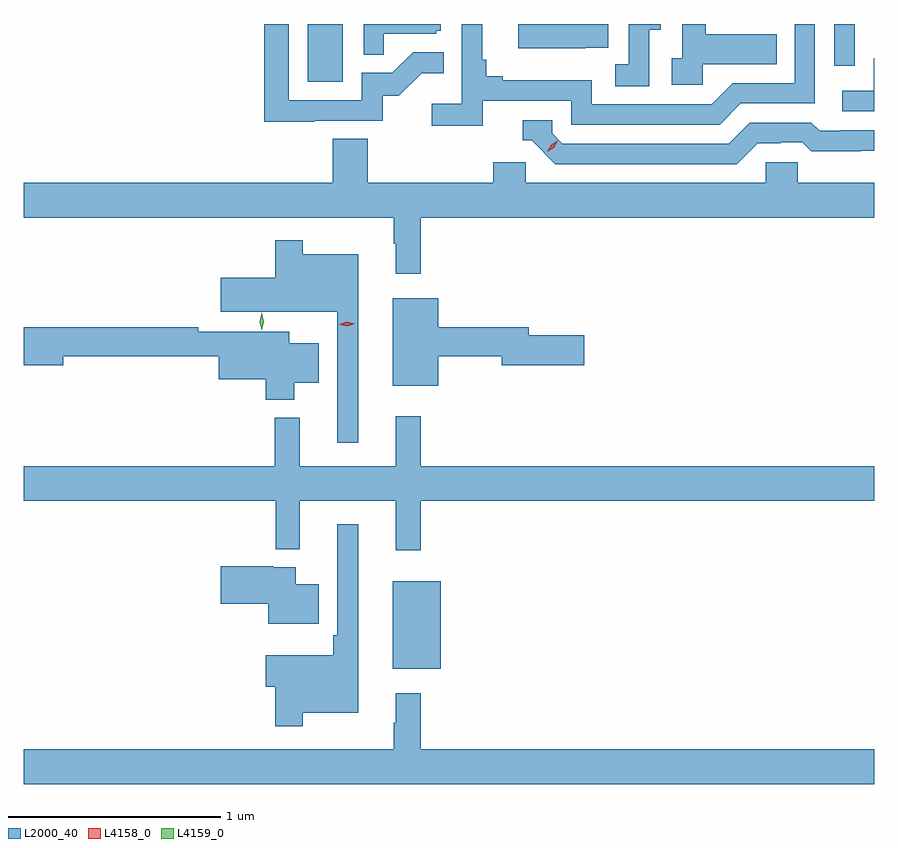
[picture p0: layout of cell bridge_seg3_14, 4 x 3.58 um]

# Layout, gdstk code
import gdstk
lib = gdstk.Library(unit=1e-6, precision=1e-09)
def R(c, l, rs):  # rectangles x0, y0, x1, y1
    for r in rs: c.add(gdstk.rectangle(r[:2], r[2:], *l))
def P(c, l, *ps):  # polygons
    for p in ps: c.add(gdstk.Polygon(p, *l))
L2000_40 = (2000, 40)
L4158_0 = (4158, 0)
L4159_0 = (4159, 0)

bridge_seg3_14 = lib.new_cell('bridge_seg3_14')
R(bridge_seg3_14, L2000_40, [(875.897,720.107,876.124,720.517), (875.498,722.868,875.662,723.14), (877.974,722.943,878.07,723.14)])
P(bridge_seg3_14, L2000_40, [(876.32,722.778),(876.738,722.778),(876.738,722.667),(877.435,722.667),(877.534,722.766),(877.884,722.766),(877.884,723.14),(877.788,723.14),(877.788,722.862),(877.497,722.862),(877.398,722.763),(876.834,722.763),(876.834,722.875),(876.415,722.875),(876.415,722.894),(876.338,722.894),(876.338,722.971),(876.319,722.971),(876.319,723.14),(876.222,723.14),(876.222,722.764),(876.081,722.764),(876.081,722.662),(876.32,722.662)],
  [(875.855,723.093),(876.102,723.093),(876.102,723.108),(876.124,723.108),(876.124,723.14),(875.76,723.14),(875.76,722.995),(875.855,722.995)],
  [(877.104,723.112),(877.159,723.112),(877.159,723.14),(877.008,723.14),(877.008,722.951),(876.945,722.951),(876.945,722.848),(877.104,722.848)],
  [(877.356,722.951),(877.703,722.951),(877.703,723.091),(877.369,723.091),(877.369,723.14),(877.26,723.14),(877.26,722.978),(877.209,722.978),(877.209,722.853),(877.356,722.853)],
  [(876.803,723.029),(876.911,723.029),(876.911,723.14),(876.489,723.14),(876.489,723.026),(876.803,723.026)],
  [(875.531,722.685),(875.85,722.685),(875.85,722.802),(875.926,722.802),(876.033,722.909),(876.137,722.909),(876.137,723.008),(875.993,723.008),(875.895,722.91),(875.751,722.91),(875.751,722.781),(875.409,722.781),(875.409,723.14),(875.293,723.14),(875.293,722.68),(875.531,722.68)],
  [(878.162,722.98),(878.16,722.98),(878.16,722.826),(878.013,722.826),(878.013,722.73),(878.162,722.73)],
  [(877.615,722.58),(877.722,722.58),(877.722,722.583),(877.825,722.583),(877.867,722.541),(878.1,722.541),(878.1,722.543),(878.162,722.543),(878.162,722.64),(878.005,722.64),(878.005,722.637),(877.906,722.637),(877.867,722.676),(877.578,722.676),(877.479,722.577),(876.696,722.577),(876.648,722.625),(876.648,722.688),(876.509,722.688),(876.509,722.592),(876.552,722.592),(876.663,722.481),(877.516,722.481)],
  [(876.029,722.228),(878.162,722.228),(878.162,722.392),(877.803,722.392),(877.803,722.49),(877.653,722.49),(877.653,722.392),(876.522,722.392),(876.522,722.49),(876.371,722.49),(876.371,722.392),(875.78,722.392),(875.78,722.6),(875.615,722.6),(875.615,722.392),(874.162,722.392),(874.162,722.228),(875.901,722.228),(875.901,722.105),(875.912,722.105),(875.912,721.965),(876.029,721.965)],
  [(875.734,722.056),(875.473,722.056),(875.473,722.122),(875.344,722.122),(875.344,721.945),(875.088,721.945),(875.088,721.787),(875.637,721.787),(875.637,721.17),(875.734,721.17)],
  [(876.112,721.576),(876.41,721.576),(876.41,721.534),(876.799,721.534),(876.799,721.676),(876.538,721.676),(876.538,721.712),(876.112,721.712),(876.112,721.849),(875.897,721.849),(875.897,721.439),(876.112,721.439)],
  [(875.434,721.451),(875.548,721.451),(875.548,721.639),(875.41,721.639),(875.41,721.693),(874.982,721.693),(874.982,721.712),(874.162,721.712),(874.162,721.534),(874.348,721.534),(874.348,721.576),(875.078,721.576),(875.078,721.469),(875.3,721.469),(875.3,721.373),(875.434,721.373)],
  [(876.029,720.896),(878.162,720.896),(878.162,721.06),(876.029,721.06),(876.029,721.294),(875.912,721.294),(875.912,721.06),(875.459,721.06),(875.459,721.288),(875.341,721.288),(875.341,721.06),(874.162,721.06),(874.162,720.896),(875.346,720.896),(875.346,720.668),(875.459,720.668),(875.459,720.896),(875.912,720.896),(875.912,720.663),(876.029,720.663)],
  [(875.473,719.9),(875.734,719.9),(875.734,720.787),(875.637,720.787),(875.637,720.265),(875.617,720.265),(875.617,720.169),(875.3,720.169),(875.3,720.022),(875.344,720.022),(875.344,719.835),(875.473,719.835)],
  [(875.548,720.505),(875.44,720.505),(875.44,720.583),(875.336,720.583),(875.336,720.588),(875.088,720.588),(875.088,720.413),(875.312,720.413),(875.312,720.317),(875.548,720.317)],
  [(878.162,719.728),(876.029,719.728),(876.029,719.992),(875.912,719.992),(875.912,719.852),(875.901,719.852),(875.901,719.728),(874.162,719.728),(874.162,719.564),(878.162,719.564)])
P(bridge_seg3_14, L4158_0, [(875.683,721.718),(875.647,721.726),(875.647,721.726),(875.647,721.727),(875.682,721.738),(875.718,721.729),(875.718,721.729),(875.718,721.729)],
  [(876.624,722.539),(876.624,722.54),(876.642,722.572),(876.673,722.59),(876.673,722.59),(876.673,722.59),(876.656,722.558),(876.625,722.539)])
P(bridge_seg3_14, L4159_0, [(875.28,721.699),(875.28,721.699),(875.271,721.74),(875.282,721.781),(875.282,721.781),(875.282,721.781),(875.291,721.74),(875.28,721.699)])

lib.write_gds('bridge_seg3_14.gds')
